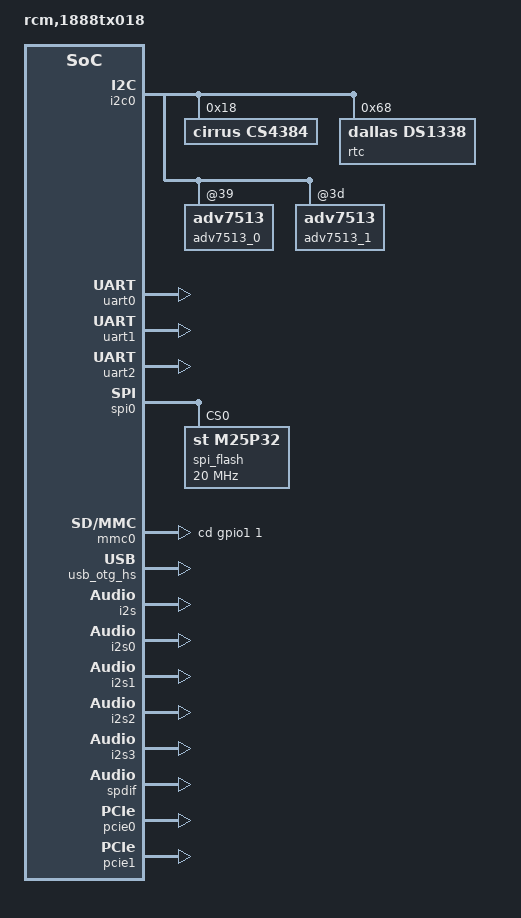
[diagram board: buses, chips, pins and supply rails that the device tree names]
/*
 * Device Tree Source for RCM 1888TX018 platform
 *
 * Copyright © 2019 Alexey Spirkov <dev@alsp.net>
 *
 * This file is licensed under the terms of the GNU General Public
 * License version 2.  This program is licensed "as is" without
 * any warranty of any kind, whether express or implied.
 */

/include/ "1888tx018.dtsi"

/ {
	model = "rcm,1888tx018";
	compatible = "rcm,1888tx018";

	aliases {
		serial0 = &uart0;
		serial1 = &uart1;
		serial2 = &uart2;
		mmc0 = &mmc0;
	};

	plb {

		sram_nor_arbiter {
			status = "ok";
			sram-nor-mux = <1>; // 0 to route extmem wires to LSIF0, 1 - to MCIF
			// in case of LSIF0 following lines will be needed
			ext-mem-mux-mode = <0>; // 0 - SRAN_NOR, 1 - NAND GBIT_GRETH0 GBIT_GRETH1, 2 - GRETH0 GRETH1 NAND
			ce-manage = <2>; // 0
		};

		lsif0 {
			greth_gbit1: greth_gbit1@0x3C034000 {
				status = "ok";
				mac-address = [ EC 17 66 77 05 02 ];
			};
		};

		lsif1 {
			i2c0: i2c@0x3C05A000 {
				status = "ok";

				cs4384: cs4384@18 {
					compatible = "cirrus,cs4384";
					#sound-dai-cells = <1>;
					reg = <0x18>;
				};

				rtc@68 {
					compatible = "dallas,ds1338";
					reg = <0x68>;
				};

				// HDMI channel 0
				adv7513_0: adv7513@39 {
					// status = "ok";
				};

				// HDMI channel 1
				adv7513_1: adv7513@3d {
					// status = "ok";
				};
			};

			uart0: uart0@3C05D000 {
				status = "ok";
			};

			uart1: uart2@3C05E000 {
				status = "ok";
			};

			uart2: uart3@3C05F000 {
				status = "ok";
			};

			spi0: spi@0x3C061000 {
				status = "ok";

				spi_flash@0 {
					compatible = "st,m25p32", "spi-flash";
					reg = <0>;
					spi-max-frequency = <20000000>;
				};

			};

			mmc0: mmc0@0x3C064000 {
				status = "ok";
				max-frequency = <8000000>;
				cd-gpios = <&gpio1 1 0>; // card detect
			};

			gpio0: gpio0@0x3C065000 {
				status = "ok";
			};

			gpio1: gpio1@0x3C066000 {
				status = "ok";
			};

			usb_otg_hs: usb_otg_hs@0x3C06D000 {
				status = "ok";
				mode = <1>; // 1 - host, 2 - device
			};
		};

		mms {
			i2s: i2s@0x39080000 {
				status = "ok";
			};
			i2s0: i2s@0 {
				status = "ok";
			};
			i2s1: i2s@1 {
				status = "ok";
			};
			i2s2: i2s@2 {
				status = "ok";
			};
			i2s3: i2s@3 {
				status = "ok";
			};
			spdif: spdif@0x39080000 {
				status = "ok";
			};
			audio_dma: audio_dma@0x38017000 {
				status = "ok";
			};

			sound {
				// status = "ok";
				compatible = "simple-audio-card";
				simple-audio-card,name = "RCM Audio";
				#address-cells = <1>;
				#size-cells = <0>;
				#sound-dai-cells = <0>;

				simple-audio-card,dai-link@0 { // I2S0 - cs4384_0
					reg = <0>;
					format = "i2s";
					cpu {
						sound-dai = <&i2s0>;
					};
					codec {
						sound-dai = <&cs4384 0>;
					};
				};
				simple-audio-card,dai-link@1 { // I2S1 - cs4384_1
					reg = <1>;
					format = "i2s";
					cpu {
						sound-dai = <&i2s1>;
					};
					codec {
						sound-dai = <&cs4384 1>;
					};
				};
				simple-audio-card,dai-link@2 { // I2S2 - cs4384_2
					reg = <2>;
					format = "i2s";
					cpu {
						sound-dai = <&i2s2>;
					};
					codec {
						sound-dai = <&cs4384 2>;
					};
				};
				simple-audio-card,dai-link@3 { // I2S3 - cs4384_3
					reg = <3>;
					format = "i2s";
					cpu {
						sound-dai = <&i2s3>;
					};
					codec {
						sound-dai = <&cs4384 3>;
					};
				};

				simple-audio-card,dai-link@4 { // spdif
					reg = <4>;
					cpu {
						sound-dai = <&spdif>;
					};
					codec {
						sound-dai = <&spdif_out>;
					};
				};
			};

			spdif_out: spdif-out {
				#sound-dai-cells = <0>;
				compatible = "linux,spdif-dit";
			};

			// HDMI channel 0 (actually VDU index 1)
			vdu0: vdu@0x38013000 {
				// status = "ok";
			};

			// HDMI channel 1 (actually VDU index 0)
			vdu1: vdu@0x38011000 {
				// status = "ok";
			};

			vpu: vpu@0x38020000 {
				status = "ok";
			};
		};

		apb0 {

			watchdog: watchdog@0x38002000 {
				status = "ok";
			};

			thermal: thermal@0x38003000 {
				status = "ok";
			};

			cpufreq: cpufreq@0x38006000 {
				status = "ok";
				      // freq      fb pre post div
				freqs = <200000     32  1   2    0>,
				        <400000     32  1   1    0>,
				        <800000     64  1   1    0>;

			};
		};

		xhsif0 {
			pcie0: pcie@1010000000 {
				status = "ok";
			};
		};

		xhsif1 {
			pcie1: pcie@1018000000 {
				status = "ok";
			};
		};

		dspcores {
			nmc3_0_core0: nmc3_0_core0@0x39000000 {
				status = "ok";
				core-name = "K1879-nmc";
			};
			nmc3_0_core1: nmc3_0_core1@0x39020000 {
				status = "ok";
				core-name = "K1879-nmc";
			};
			nmc3_1_core0: nmc3_1_core0@0x39040000 {
				status = "ok";
				core-name = "K1879-nmc";
			};
			nmc3_1_core1: nmc3_1_core1@0x39060000 {
				status = "ok";
				core-name = "K1879-nmc";
			};
		};
	};

	thermal-zones {
		cpu-thermal {
			polling-delay-passive = <0>;
			polling-delay =  <1000>;
			thermal-sensors = <&thermal>;

			trips {
				cpu-crit {
					temperature = <100000>;
					hysteresis = <0>;
					type = "critical";
				};
			};

			cooling-maps {
			};
		};
	};

	chosen {
		stdout-path = &uart0;
	};
};

/* SRAM-NOR */
/include/ "mb115-02.dtsi"

/* Ethernet,NAND */
// /include/ "mb115-03.dtsi"

/* AV ouput */
// /include/ "mb115-04.dtsi"
